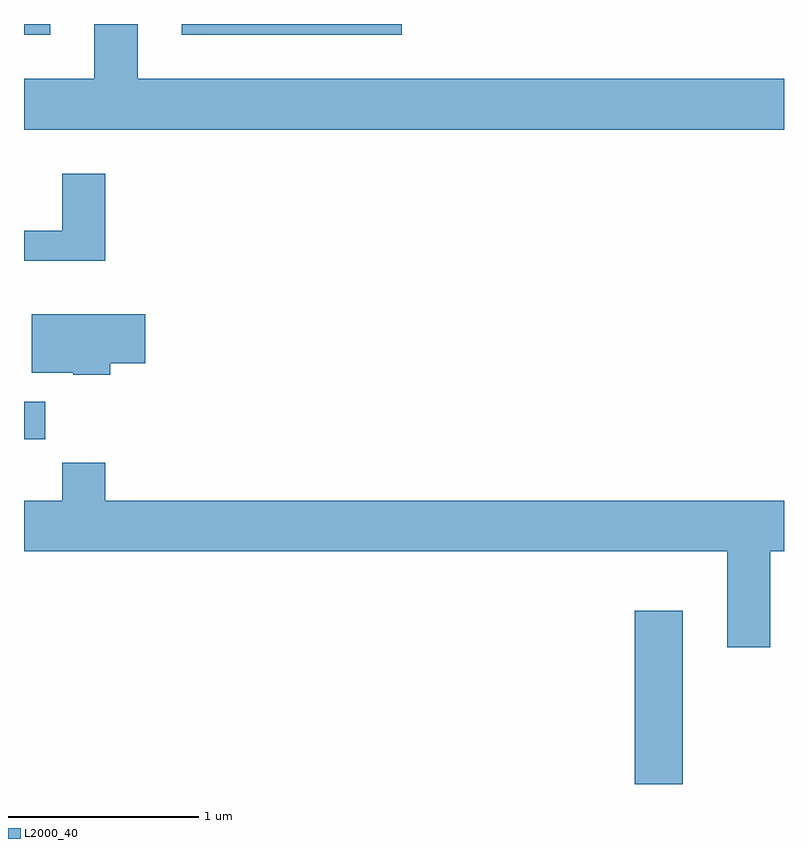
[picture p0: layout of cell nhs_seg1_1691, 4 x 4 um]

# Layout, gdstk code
import gdstk
lib = gdstk.Library(unit=1e-6, precision=1e-09)
def R(c, l, rs):  # rectangles x0, y0, x1, y1
    for r in rs: c.add(gdstk.rectangle(r[:2], r[2:], *l))
def P(c, l, *ps):  # polygons
    for p in ps: c.add(gdstk.Polygon(p, *l))
L2000_40 = (2000, 40)

nhs_seg1_1691 = lib.new_cell('nhs_seg1_1691')
R(nhs_seg1_1691, L2000_40, [(240.826,871.712,241.079,872.624), (237.611,873.526,237.724,873.724), (237.611,875.656,237.749,875.712), (238.441,875.656,239.598,875.712)])
P(nhs_seg1_1691, L2000_40, [(241.611,875.424),(238.209,875.424),(238.209,875.712),(237.981,875.712),(237.981,875.424),(237.611,875.424),(237.611,875.156),(241.611,875.156)],
  [(238.039,874.924),(237.811,874.924),(237.811,874.624),(237.611,874.624),(237.611,874.466),(238.039,874.466)],
  [(238.064,873.926),(238.249,873.926),(238.249,874.184),(237.651,874.184),(237.651,873.876),(237.87,873.876),(237.87,873.866),(238.064,873.866)],
  [(241.539,872.936),(241.611,872.936),(241.611,873.204),(238.039,873.204),(238.039,873.404),(237.811,873.404),(237.811,873.204),(237.611,873.204),(237.611,872.936),(241.311,872.936),(241.311,872.431),(241.539,872.431)])

lib.write_gds('nhs_seg1_1691.gds')
